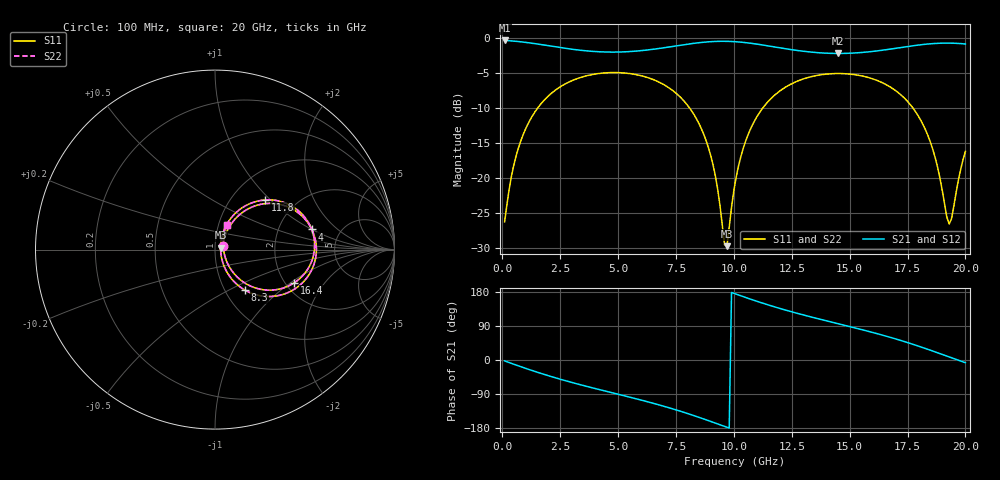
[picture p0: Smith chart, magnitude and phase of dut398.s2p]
! Touchstone file exported from HFSS 2026.1.0
!  File:  C:/ffzhzh/LocalFiles/Ansys_Project_Files/temp_train_TSV_RDL_398_1783091909_46604.aedt
!  Generated:  11:37:26 PM Jul  3, 2026
!  Design:  TSV_RDL
!  Project:  temp_train_TSV_RDL_398_1783091909_46604
! Variables:
!  h_bsmrdl = 3.11um
!  h_ox = 20um
!  h_rdl = 5um
!  h_sub = 86.94um
!  h_tmrdl = 2.26um
!  h_tsv = 86.94um
!  h_via = 3um
!  l_bsmrdl = 680.33um
!  l_sub = 6107.68um
!  l_tmrdl = 886.29um
!  m_sub = 200um
!  pitch = 45.97um
!  r_tsv = 4.94um
!  s_tmrdl = 10um
!  w_bsmrdl = 21.98um
!  w_sub = 500um
!  w_tmrdl = 18.53um
!  x_tsv_center1 = 895.555um
!  x_tsv_center2 = 1597.865um
!  x_tsv_center3 = 2502.685um
!  x_tsv_center4 = 3204.995um
!  x_tsv_center5 = 4109.815um
!  x_tsv_center6 = 4812.125um
# GHz S MA R 50.000000
! Terminal data exported
! Port[1] = TM_RDL1_1_T1
! Port[2] = TM_RDL5_1_T1
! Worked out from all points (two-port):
!   200 points, 100 MHz to 20 GHz, reference 50 ohm
!   highest |S21| = -0.38 dB at 100 MHz (marker M1); lowest = -2.2 dB at 14.5 GHz (marker M2)
!   |S21| within 3 dB of the highest: start of sweep to end of sweep
!   lowest |S11| = -29.7 dB at 9.7 GHz (marker M3), VSWR 1.07, Z = 53.2 + j1.08 ohm
!   |S11| at or under -10 dB: start of sweep to 1.534 GHz; 8.084 GHz to 11.26 GHz (3.172 GHz wide, 32.8 % of centre); 17.73 GHz to end of sweep
!   |S22| runs from -29.7 to -5.0 dB; largest |S21 - S12| = 8.1e-15
!   S11 on the Smith chart (normalised r, x): 100 MHz: 1.09, +0.05; 4 GHz: 3.10, +1.00; 8.3 GHz: 1.23, -0.60; 11.8 GHz: 1.42, +0.93; 16.4 GHz: 2.23, -1.07; 20 GHz: 1.10, +0.31
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0.1  0.04863 27.6  0.9576 -2.3  0.9576 -2.3  0.04863 27.6
! Gamma 0 0 0 0
! Port Impedance 50 0 50 0
0.5  0.1241 57.0  0.9474 -11.3  0.9474 -11.3  0.1241 57.0
1.2  0.2593 53.4  0.9191 -26.0  0.9191 -26.0  0.2593 53.4
3.5  0.5282 19.0  0.811 -67.3  0.811 -67.3  0.5282 19.0
4  0.5509 11.8  0.7983 -75.1  0.7983 -75.1  0.5509 11.8
5.4  0.5582 -8.1  0.7959 -96.4  0.7959 -96.4  0.5582 -8.1
6.8  0.4801 -29.1  0.8407 -119.0  0.8407 -119.0  0.4801 -29.1
8.3  0.2793 -53.7  0.9146 -147.2  0.9146 -147.2  0.2793 -53.6
9.1  0.1242 -62.1  0.9407 -164.2  0.9407 -164.2  0.1242 -61.9
9.6  0.03332 -18.4  0.9445 -175.2  0.9445 -175.2  0.03358 -18.1
9.7  0.03256 18.2  0.944 -177.4  0.944 -177.4  0.03286 18.1
10.1  0.1011 64.3  0.9373 173.8  0.9373 173.8  0.1012 64.2
10.8  0.2382 60.3  0.9114 158.9  0.9114 158.9  0.2383 60.3
11.8  0.3946 44.5  0.8584 139.5  0.8584 139.5  0.3947 44.5
13.4  0.5308 20.1  0.789 112.6  0.789 112.6  0.5309 20.1
14.5  0.5559 4.6  0.7733 95.8  0.7733 95.8  0.556 4.6
16.4  0.4793 -22.7  0.815 66.0  0.815 66.0  0.4793 -22.6
16.7  0.4513 -27.2  0.8281 60.8  0.8281 60.8  0.4513 -27.2
18.3  0.2161 -50.2  0.9006 29.8  0.9006 29.8  0.2161 -50.1
18.8  0.119 -49.8  0.9135 19.1  0.9135 19.1  0.119 -49.7
19.3  0.04689 4.6  0.9167 8.1  0.9167 8.1  0.04696 4.6
20  0.1546 64.3  0.9035 -7.1  0.9035 -7.1  0.1547 64.3
